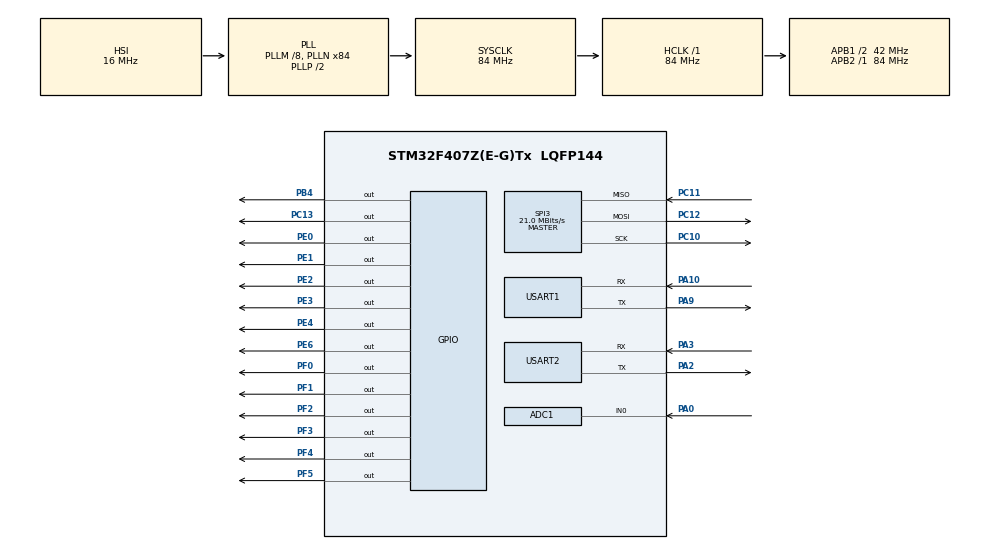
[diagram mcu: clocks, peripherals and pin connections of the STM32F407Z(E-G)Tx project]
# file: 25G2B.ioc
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ADC1.Channel-0\#ChannelRegularConversion=ADC_CHANNEL_0
ADC1.ExternalTrigConv=ADC_EXTERNALTRIGCONV_T3_TRGO
ADC1.NbrOfConversionFlag=1
ADC1.Rank-0\#ChannelRegularConversion=1
ADC1.SamplingTime-0\#ChannelRegularConversion=ADC_SAMPLETIME_3CYCLES
ADC1.master=1
Dma.ADC1.0.Direction=DMA_PERIPH_TO_MEMORY
Dma.ADC1.0.FIFOMode=DMA_FIFOMODE_DISABLE
Dma.ADC1.0.Instance=DMA2_Stream0
Dma.ADC1.0.MemDataAlignment=DMA_MDATAALIGN_HALFWORD
Dma.ADC1.0.MemInc=DMA_MINC_ENABLE
Dma.ADC1.0.Mode=DMA_NORMAL
Dma.ADC1.0.PeriphDataAlignment=DMA_PDATAALIGN_HALFWORD
Dma.ADC1.0.PeriphInc=DMA_PINC_DISABLE
Dma.ADC1.0.Priority=DMA_PRIORITY_LOW
Dma.Request0=ADC1
Mcu.Family=STM32F4
Mcu.Name=STM32F407Z(E-G)Tx
Mcu.Package=LQFP144
NVIC.DMA2_Stream0_IRQn=true\:0\:0\:false\:false\:true\:false\:true\:true
NVIC.PriorityGroup=NVIC_PRIORITYGROUP_4
NVIC.SPI3_IRQn=true\:0\:0\:false\:false\:true\:true\:true\:true
NVIC.USART1_IRQn=true\:0\:0\:false\:false\:true\:true\:true\:true
NVIC.USART2_IRQn=true\:0\:0\:false\:false\:true\:true\:true\:true
PA0-WKUP.Signal=ADCx_IN0
PA10.Mode=Asynchronous
PA10.Signal=USART1_RX
PA13.Mode=Serial_Wire
PA13.Signal=SYS_JTMS-SWDIO
PA14.Mode=Serial_Wire
PA14.Signal=SYS_JTCK-SWCLK
PA2.Mode=Asynchronous
PA2.Signal=USART2_TX
PA3.Mode=Asynchronous
PA3.Signal=USART2_RX
PA9.Mode=Asynchronous
PA9.Signal=USART1_TX
PB4.Signal=GPIO_Output
PC10.Mode=Full_Duplex_Master
PC10.Signal=SPI3_SCK
PC11.Mode=Full_Duplex_Master
PC11.Signal=SPI3_MISO
PC12.Mode=Full_Duplex_Master
PC12.Signal=SPI3_MOSI
PC13-ANTI_TAMP.Signal=GPIO_Output
PE0.Signal=GPIO_Output
PE1.Signal=GPIO_Output
PE2.Signal=GPIO_Output
PE3.Signal=GPIO_Output
PE4.Signal=GPIO_Output
PE6.Signal=GPIO_Output
PF0.Signal=GPIO_Output
PF1.Signal=GPIO_Output
PF2.Signal=GPIO_Output
PF3.Signal=GPIO_Output
PF4.Signal=GPIO_Output
PF5.PinState=GPIO_PIN_SET
PF5.Signal=GPIO_Output
PH0-OSC_IN.Mode=HSE-External-Oscillator
PH0-OSC_IN.Signal=RCC_OSC_IN
PH1-OSC_OUT.Mode=HSE-External-Oscillator
PH1-OSC_OUT.Signal=RCC_OSC_OUT
ProjectManager.HeapSize=0x200
ProjectManager.StackSize=0x400
ProjectManager.TargetToolchain=MDK-ARM V5.32
RCC.48MHZClocksFreq_Value=42000000
RCC.AHBFreq_Value=84000000
RCC.APB1CLKDivider=RCC_HCLK_DIV2
RCC.APB1Freq_Value=42000000
RCC.APB1TimFreq_Value=84000000
RCC.APB2Freq_Value=84000000
RCC.APB2TimFreq_Value=84000000
RCC.CortexFreq_Value=84000000
RCC.HCLKFreq_Value=84000000
RCC.HSE_VALUE=25000000
RCC.HSI_VALUE=16000000
RCC.LSE_VALUE=32768
RCC.PLLM=8
RCC.PLLN=84
RCC.SYSCLKFreq_VALUE=84000000
RCC.SYSCLKSource=RCC_SYSCLKSOURCE_PLLCLK
RCC.VCOOutputFreq_Value=168000000
SH.ADCx_IN0.0=ADC1_IN0,IN0
SPI3.BaudRatePrescaler=SPI_BAUDRATEPRESCALER_2
SPI3.CalculateBaudRate=21.0 MBits/s
SPI3.Direction=SPI_DIRECTION_2LINES
SPI3.Mode=SPI_MODE_MASTER
SPI3.VirtualType=VM_MASTER
TIM3.AutoReloadPreload=TIM_AUTORELOAD_PRELOAD_ENABLE
TIM3.Period=82-1
TIM3.TIM_MasterOutputTrigger=TIM_TRGO_UPDATE
USART1.VirtualMode=VM_ASYNC
USART2.VirtualMode=VM_ASYNC
VP_TIM3_VS_ClockSourceINT.Mode=Internal
board=custom

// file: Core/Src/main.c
/* USER CODE BEGIN Header */
/**
  ******************************************************************************
  * @file           : main.c
  * @brief          : Main program body
  ******************************************************************************
  * @attention
  *
  * Copyright (c) 2025 STMicroelectronics.
  * All rights reserved.
  *
  * This software is licensed under terms that can be found in the LICENSE file
  * in the root directory of this software component.
  * If no LICENSE file comes with this software, it is provided AS-IS.
  *
  ******************************************************************************
  */
/* USER CODE END Header */
#include "main.h"
#include "adc.h"
#include "dma.h"
#include "spi.h"
#include "tim.h"
#include "usart.h"
#include "gpio.h"

/* USER CODE BEGIN Includes */
#include "AD9959.h"
#include "G2B.h"
#include "stdio.h"
#include "key.h"
/* USER CODE END Includes */

/* USER CODE BEGIN PTD */
#define RX_BUF_SIZE 64

uint8_t rx1_buf[RX_BUF_SIZE];
uint8_t rx1_tmp;
uint8_t rx1_index = 0;

uint8_t rx2_buf[RX_BUF_SIZE];
uint8_t rx2_tmp;
uint8_t rx2_index = 0;

/* USER CODE END PTD */

/* USER CODE BEGIN PV */
uint16_t fre=0;
uint16_t flag=0;
uint16_t fremax=0;
uint16_t fremin=0;
uint16_t mode=0;
uint16_t count=0;
uint16_t adc_buff[1024];//存放ADC采集的数据
extern int _estack; // 定义在链接脚本中
extern int32_t result;
int s1=0;
int s2=0;
/*
AdcConvEnd用来检测ADC是否采集完毕
0：没有采集完毕
1：采集完毕，在stm32f1xx_it里的DMA完成中断进行修改
 */
__IO uint8_t AdcConvEnd = 0;
volatile uint16_t sensor_data = 0;
/* USER CODE END PV */

void SystemClock_Config(void);
/* USER CODE BEGIN PFP */
void AD9959_sweep(uint32_t fre,uint32_t mode,uint32_t fremax,uint32_t fremin,uint32_t speed);
/* USER CODE END PFP */

int main(void)
{

  /* USER CODE BEGIN 1 */
	result=100;
  /* USER CODE END 1 */

  /* MCU Configuration--------------------------------------------------------*/

  /* Reset of all peripherals, Initializes the Flash interface and the Systick. */
  HAL_Init();

  /* Configure the system clock */
  SystemClock_Config();

  /* Initialize all configured peripherals */
  MX_GPIO_Init();
  MX_DMA_Init();
  MX_SPI3_Init();
  MX_ADC1_Init();
  MX_TIM3_Init();
  MX_USART1_UART_Init();
  MX_USART2_UART_Init();
  /* USER CODE BEGIN 2 */
	HAL_UART_Receive_IT(&huart1, &rx1_tmp, 1);
	HAL_UART_Receive_IT(&huart2, &rx2_tmp, 1);
	HAL_TIM_Base_Start(&htim3);   //开启定时器3
	AD9959_Init();								//初始化控制AD9959需要用到的IO口,及寄存器
  HAL_Delay(10); 								// 添加10ms延时确保初始化完成
	IO_Update();

  /* USER CODE END 2 */

  /* Infinite loop */
  /* USER CODE BEGIN WHILE */
  while (1)
  {
	if(result==-1)
	{s1=-1;}//start
	else if(result==-2)
	{s1=-2;}//stop
	else if(result==-3)
	{s1=-3;}
	 AD9959_Set_Fre(CH0,1000000);
	 G2B_Set_Vpp(CH0,1000000,100);
    // 频率扫描示例（取消注释使用）
 if(s1==-1 )
 {
	 {
				AD9959_sweep(
        1000000,    // 起始频率
        3,
        40000000,    // 最大频率
        1000000,    // 最小频率
        1000000);    // 步进速度
				HAL_Delay(100);
	 }
 }
else if(s1==-3)
 {
	 AD9959_Set_Fre(CH0,1000000);
	 G2B_Set_Vpp(CH0,1000000,100);
	 IO_Update();
 }
else if(result<0)
{}
    /* USER CODE END WHILE */

  }
}

void SystemClock_Config(void)
{
  RCC_OscInitTypeDef RCC_OscInitStruct = {0};
  RCC_ClkInitTypeDef RCC_ClkInitStruct = {0};

  /** Configure the main internal regulator output voltage
  */
  __HAL_RCC_PWR_CLK_ENABLE();
  __HAL_PWR_VOLTAGESCALING_CONFIG(PWR_REGULATOR_VOLTAGE_SCALE1);

  /** Initializes the RCC Oscillators according to the specified parameters
  * in the RCC_OscInitTypeDef structure.
  */
  RCC_OscInitStruct.OscillatorType = RCC_OSCILLATORTYPE_HSI;
  RCC_OscInitStruct.HSIState = RCC_HSI_ON;
  RCC_OscInitStruct.HSICalibrationValue = RCC_HSICALIBRATION_DEFAULT;
  RCC_OscInitStruct.PLL.PLLState = RCC_PLL_ON;
  RCC_OscInitStruct.PLL.PLLSource = RCC_PLLSOURCE_HSI;
  RCC_OscInitStruct.PLL.PLLM = 8;
  RCC_OscInitStruct.PLL.PLLN = 84;
  RCC_OscInitStruct.PLL.PLLP = RCC_PLLP_DIV2;
  RCC_OscInitStruct.PLL.PLLQ = 4;
  if (HAL_RCC_OscConfig(&RCC_OscInitStruct) != HAL_OK)
  {
    Error_Handler();
  }

  /** Initializes the CPU, AHB and APB buses clocks
  */
  RCC_ClkInitStruct.ClockType = RCC_CLOCKTYPE_HCLK|RCC_CLOCKTYPE_SYSCLK
                              |RCC_CLOCKTYPE_PCLK1|RCC_CLOCKTYPE_PCLK2;
  RCC_ClkInitStruct.SYSCLKSource = RCC_SYSCLKSOURCE_PLLCLK;
  RCC_ClkInitStruct.AHBCLKDivider = RCC_SYSCLK_DIV1;
  RCC_ClkInitStruct.APB1CLKDivider = RCC_HCLK_DIV2;
  RCC_ClkInitStruct.APB2CLKDivider = RCC_HCLK_DIV1;

  if (HAL_RCC_ClockConfig(&RCC_ClkInitStruct, FLASH_LATENCY_2) != HAL_OK)
  {
    Error_Handler();
  }
}

/* USER CODE BEGIN 4 */
void HAL_ADC_ConvCpltCallback(ADC_HandleTypeDef* hadc) {
    if (hadc->Instance == ADC1) AdcConvEnd = 1;
}
void AD9959_sweep(uint32_t fre,uint32_t mode,uint32_t fremax,uint32_t fremin,uint32_t speed)
{

	if(mode==1)
	{
		fre=fremax+count*speed;
		count--;
			AD9959_Set_Fre(CH0,fre);
		IO_Update();
	}
	else if(mode==2)
	{
		fre=fremin+count*speed;
		count++;
			AD9959_Set_Fre(CH0,fre);
		IO_Update();
	}
else if (mode == 3)
{
    // 1. 先计算新的 fre
    if (flag == 0) {
        fre = fremin + count * speed;  // 上升扫描
    } else {
        fre = fremax - count * speed;  // 下降扫描（从 fremax 开始减）
    }

    // 2. 检查边界，更新 flag
    if (fre >= fremax) {  // 超过上限 → 改为下降扫描
        flag = 1;
        fre = fremax;    // 防止超出
        count = 0;       // 重置 count
    } else if (fre <= fremin) {  // 低于下限 → 改为上升扫描
        flag = 0;
        fre = fremin;    // 防止低于最小值
        count = 0;       // 重置 count
    }
		count++;
    printf("count=%d, fre=%d, flag=%d\n", count, fre, flag);
    AD9959_Set_Fre(CH0, fre);
    G2B_Set_Vpp(CH0, fre, result);
    IO_Update();
}

}
/* USER CODE END 4 */

void Error_Handler(void)
{
  __disable_irq();
  while (1)
  {
  }
}
